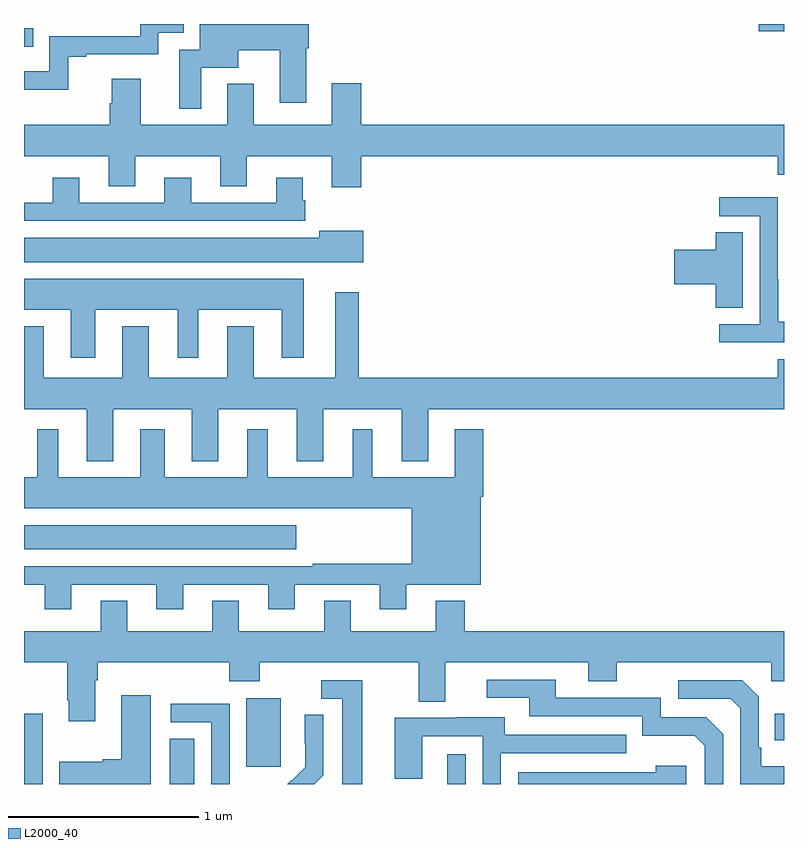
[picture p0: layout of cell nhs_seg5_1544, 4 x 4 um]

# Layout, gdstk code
import gdstk
lib = gdstk.Library(unit=1e-6, precision=1e-09)
def R(c, l, rs):  # rectangles x0, y0, x1, y1
    for r in rs: c.add(gdstk.rectangle(r[:2], r[2:], *l))
def P(c, l, *ps):  # polygons
    for p in ps: c.add(gdstk.Polygon(p, *l))
L2000_40 = (2000, 40)

nhs_seg5_1544 = lib.new_cell('nhs_seg5_1544')
R(nhs_seg5_1544, L2000_40, [(205.766,842.799,205.897,843.038), (207.227,842.799,207.324,842.956), (206.171,842.889,206.35,843.25), (208.951,843.029,209,843.169), (205,844.034,206.434,844.162), (205,846.68,205.049,846.777), (208.866,846.761,209,846.799)])
P(nhs_seg5_1544, L2000_40, [(205.233,846.627),(205.327,846.627),(205.327,846.639),(205.707,846.639),(205.707,846.753),(205.84,846.753),(205.84,846.799),(205.611,846.799),(205.611,846.735),(205.134,846.735),(205.134,846.55),(205,846.55),(205,846.452),(205.233,846.452)],
  [(205.933,846.569),(206.128,846.569),(206.128,846.661),(206.345,846.661),(206.345,846.384),(206.485,846.384),(206.485,846.672),(206.498,846.672),(206.498,846.799),(205.926,846.799),(205.926,846.663),(205.817,846.663),(205.817,846.354),(205.933,846.354)],
  [(206.774,846.104),(208.967,846.104),(208.967,846.005),(209,846.005),(209,846.268),(206.774,846.268),(206.774,846.487),(206.621,846.487),(206.621,846.268),(206.209,846.268),(206.209,846.484),(206.069,846.484),(206.069,846.268),(205.615,846.268),(205.615,846.511),(205.463,846.511),(205.463,846.381),(205.451,846.381),(205.451,846.268),(205,846.268),(205,846.104),(205.445,846.104),(205.445,845.944),(205.585,845.944),(205.585,846.104),(206.033,846.104),(206.033,845.944),(206.173,845.944),(206.173,846.104),(206.621,846.104),(206.621,845.94),(206.774,845.94)],
  [(206.48,845.871),(206.467,845.871),(206.467,845.989),(206.327,845.989),(206.327,845.859),(205.879,845.859),(205.879,845.989),(205.739,845.989),(205.739,845.859),(205.291,845.859),(205.291,845.989),(205.151,845.989),(205.151,845.859),(205,845.859),(205,845.763),(206.48,845.763)],
  [(209,845.233),(208.971,845.233),(208.971,845.456),(208.968,845.456),(208.968,845.886),(208.659,845.886),(208.659,845.787),(208.872,845.787),(208.872,845.22),(208.659,845.22),(208.659,845.124),(209,845.124)],
  [(206.785,845.71),(206.555,845.71),(206.555,845.674),(205,845.674),(205,845.546),(206.785,845.546)],
  [(208.783,845.702),(208.64,845.702),(208.64,845.612),(208.422,845.612),(208.422,845.429),(208.64,845.429),(208.64,845.305),(208.783,845.305)],
  [(205.375,845.294),(205.808,845.294),(205.808,845.043),(205.918,845.043),(205.918,845.294),(206.357,845.294),(206.357,845.043),(206.473,845.043),(206.473,845.458),(205,845.458),(205,845.294),(205.247,845.294),(205.247,845.043),(205.375,845.043)],
  [(205.471,844.772),(205.883,844.772),(205.883,844.499),(206.023,844.499),(206.023,844.772),(206.435,844.772),(206.435,844.499),(206.575,844.499),(206.575,844.772),(206.987,844.772),(206.987,844.499),(207.127,844.499),(207.127,844.772),(209,844.772),(209,845.035),(208.967,845.035),(208.967,844.936),(206.761,844.936),(206.761,845.386),(206.639,845.386),(206.639,844.936),(206.209,844.936),(206.209,845.209),(206.069,845.209),(206.069,844.936),(205.657,844.936),(205.657,845.209),(205.517,845.209),(205.517,844.936),(205.105,844.936),(205.105,845.209),(205,845.209),(205,844.772),(205.331,844.772),(205.331,844.499),(205.471,844.499)],
  [(205.249,843.849),(205.697,843.849),(205.697,843.72),(205.837,843.72),(205.837,843.849),(206.285,843.849),(206.285,843.72),(206.425,843.72),(206.425,843.849),(206.873,843.849),(206.873,843.72),(207.013,843.72),(207.013,843.848),(207.403,843.848),(207.403,844.31),(207.416,844.31),(207.416,844.666),(207.266,844.666),(207.266,844.414),(206.833,844.414),(206.833,844.666),(206.729,844.666),(206.729,844.414),(206.284,844.414),(206.284,844.666),(206.174,844.666),(206.174,844.414),(205.741,844.414),(205.741,844.666),(205.613,844.666),(205.613,844.414),(205.18,844.414),(205.18,844.666),(205.07,844.666),(205.07,844.414),(205,844.414),(205,844.25),(207.041,844.25),(207.041,843.958),(206.521,843.958),(206.521,843.945),(205,843.945),(205,843.849),(205.109,843.849),(205.109,843.72),(205.249,843.72)],
  [(205.375,843.344),(205.388,843.344),(205.388,843.44),(206.081,843.44),(206.081,843.341),(206.241,843.341),(206.241,843.44),(207.077,843.44),(207.077,843.232),(207.217,843.232),(207.217,843.44),(207.971,843.44),(207.971,843.341),(208.119,843.341),(208.119,843.44),(208.932,843.44),(208.932,843.341),(209,843.341),(209,843.604),(207.32,843.604),(207.32,843.763),(207.167,843.763),(207.167,843.604),(206.719,843.604),(206.719,843.764),(206.579,843.764),(206.579,843.604),(206.131,843.604),(206.131,843.764),(205.991,843.764),(205.991,843.604),(205.543,843.604),(205.543,843.764),(205.403,843.764),(205.403,843.604),(205,843.604),(205,843.44),(205.228,843.44),(205.228,843.241),(205.235,843.241),(205.235,843.129),(205.375,843.129)],
  [(208.68,843.06),(208.59,843.15),(208.35,843.15),(208.35,843.252),(207.799,843.252),(207.799,843.348),(207.435,843.348),(207.435,843.252),(207.659,843.252),(207.659,843.156),(208.254,843.156),(208.254,843.053),(208.531,843.053),(208.584,843),(208.584,842.799),(208.68,842.799)],
  [(206.779,843.345),(206.565,843.345),(206.565,843.249),(206.675,843.249),(206.675,842.799),(206.779,842.799)],
  [(209,842.893),(208.879,842.893),(208.879,842.989),(208.866,842.989),(208.866,843.258),(208.779,843.345),(208.443,843.345),(208.443,843.249),(208.719,843.249),(208.77,843.198),(208.77,842.799),(209,842.799)],
  [(205.666,843.265),(205.511,843.265),(205.511,842.93),(205.415,842.93),(205.415,842.917),(205.185,842.917),(205.185,842.799),(205.666,842.799)],
  [(206.082,843.222),(205.773,843.222),(205.773,843.123),(205.986,843.123),(205.986,842.799),(206.082,842.799)],
  [(205.098,843.169),(205,843.169),(205,842.933),(205.002,842.933),(205.002,842.799),(205.098,842.799)],
  [(206.574,842.846),(206.574,843.164),(206.478,843.164),(206.478,843.01),(206.48,843.01),(206.48,842.888),(206.409,842.817),(206.406,842.82),(206.385,842.799),(206.527,842.799)],
  [(207.51,842.961),(208.169,842.961),(208.169,843.057),(207.529,843.057),(207.529,843.151),(207.275,843.151),(207.275,843.147),(206.951,843.147),(206.951,842.827),(207.096,842.827),(207.096,843.051),(207.414,843.051),(207.414,842.799),(207.51,842.799)],
  [(208.486,842.896),(208.325,842.896),(208.325,842.862),(207.6,842.862),(207.6,842.799),(208.486,842.799)])

lib.write_gds('nhs_seg5_1544.gds')
